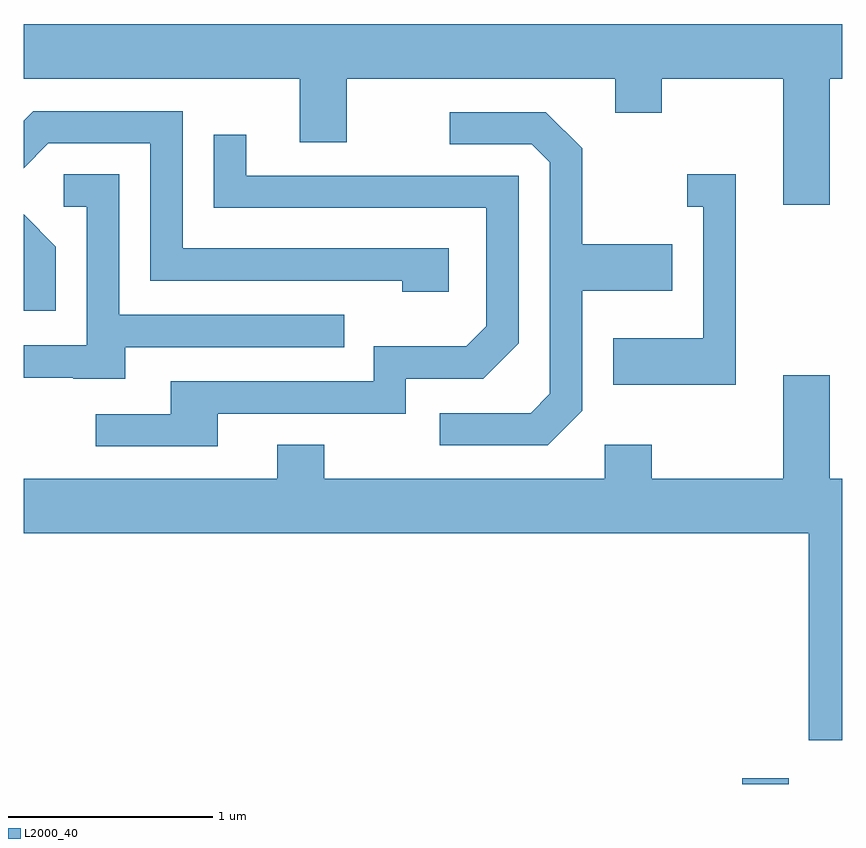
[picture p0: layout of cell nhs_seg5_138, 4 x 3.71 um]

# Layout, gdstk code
import gdstk
lib = gdstk.Library(unit=1e-6, precision=1e-09)
def R(c, l, rs):  # rectangles x0, y0, x1, y1
    for r in rs: c.add(gdstk.rectangle(r[:2], r[2:], *l))
def P(c, l, *ps):  # polygons
    for p in ps: c.add(gdstk.Polygon(p, *l))
L2000_40 = (2000, 40)

nhs_seg5_138 = lib.new_cell('nhs_seg5_138')
R(nhs_seg5_138, L2000_40, [(193.121,1400.072,193.349,1400.099)])
P(nhs_seg5_138, L2000_40, [(193.549,1403.516),(193.611,1403.516),(193.611,1403.784),(189.611,1403.784),(189.611,1403.516),(190.961,1403.516),(190.961,1403.206),(191.189,1403.206),(191.189,1403.516),(192.501,1403.516),(192.501,1403.351),(192.729,1403.351),(192.729,1403.516),(193.321,1403.516),(193.321,1402.901),(193.549,1402.901)],
  [(191.689,1402.689),(190.389,1402.689),(190.389,1403.359),(189.659,1403.359),(189.611,1403.311),(189.611,1403.08),(189.732,1403.201),(190.231,1403.201),(190.231,1402.531),(191.461,1402.531),(191.461,1402.476),(191.689,1402.476)],
  [(192.339,1401.894),(192.339,1402.481),(192.779,1402.481),(192.779,1402.709),(192.339,1402.709),(192.339,1403.177),(192.162,1403.354),(191.693,1403.354),(191.693,1403.196),(192.094,1403.196),(192.181,1403.109),(192.181,1401.977),(192.089,1401.884),(191.643,1401.884),(191.643,1401.726),(192.172,1401.726)],
  [(190.559,1401.881),(191.479,1401.881),(191.479,1402.051),(191.857,1402.051),(192.029,1402.224),(192.029,1403.044),(190.699,1403.044),(190.699,1403.243),(190.541,1403.243),(190.541,1402.886),(191.871,1402.886),(191.871,1402.307),(191.774,1402.209),(191.321,1402.209),(191.321,1402.039),(190.331,1402.039),(190.331,1401.879),(189.963,1401.879),(189.963,1401.721),(190.559,1401.721)],
  [(193.089,1403.049),(192.853,1403.049),(192.853,1402.891),(192.931,1402.891),(192.931,1402.249),(192.491,1402.249),(192.491,1402.021),(193.089,1402.021)],
  [(190.109,1402.206),(191.178,1402.206),(191.178,1402.364),(190.079,1402.364),(190.079,1403.049),(189.808,1403.049),(189.808,1402.891),(189.921,1402.891),(189.921,1402.214),(189.611,1402.214),(189.611,1402.056),(189.855,1402.056),(189.855,1402.051),(190.109,1402.051)],
  [(189.769,1402.697),(189.611,1402.855),(189.611,1402.383),(189.769,1402.383)],
  [(193.611,1401.564),(193.549,1401.564),(193.549,1402.069),(193.321,1402.069),(193.321,1401.564),(192.679,1401.564),(192.679,1401.729),(192.451,1401.729),(192.451,1401.564),(191.079,1401.564),(191.079,1401.729),(190.851,1401.729),(190.851,1401.564),(189.611,1401.564),(189.611,1401.296),(193.446,1401.296),(193.446,1400.286),(193.611,1400.286)])

lib.write_gds('nhs_seg5_138.gds')
